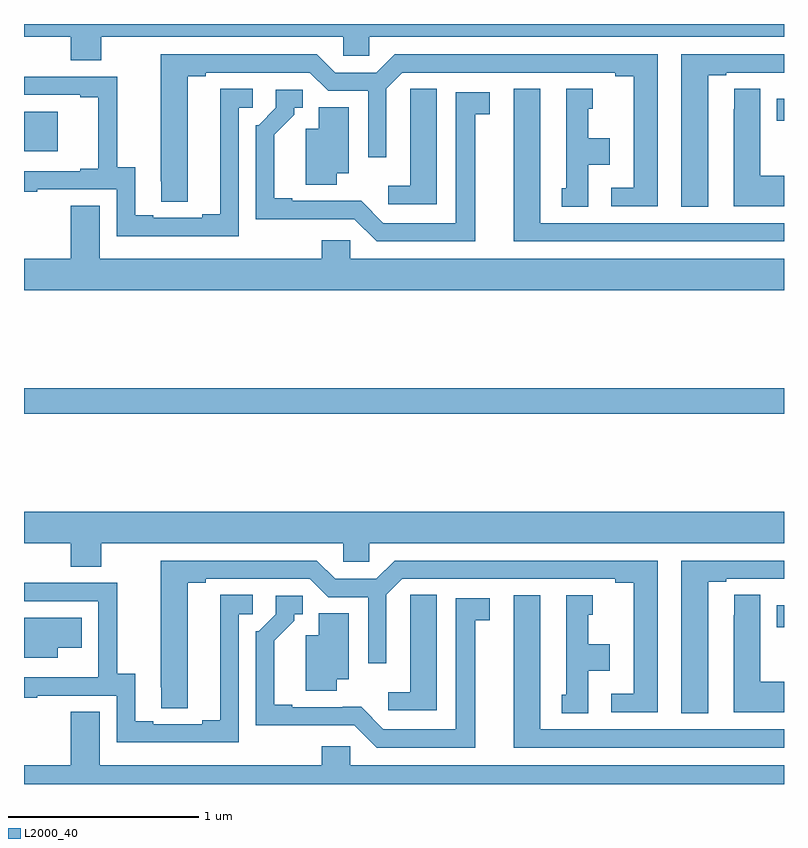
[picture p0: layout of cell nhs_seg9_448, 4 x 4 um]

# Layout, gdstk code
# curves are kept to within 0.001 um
import gdstk
lib = gdstk.Library(unit=1e-6, precision=1e-09)
def R(c, l, rs):  # rectangles x0, y0, x1, y1
    for r in rs: c.add(gdstk.rectangle(r[:2], r[2:], *l))
def P(c, l, *ps):  # polygons
    for p in ps: c.add(gdstk.Polygon(p, *l))
L2000_40 = (2000, 40)

nhs_seg9_448 = lib.new_cell('nhs_seg9_448')
R(nhs_seg9_448, L2000_40, [(136.961,1181.326,137,1181.442), (133,1182.448,137,1182.584), (133,1183.829,133.177,1184.038), (136.961,1183.99,137,1184.106)])
P(nhs_seg9_448, L2000_40, [(133.407,1184.432),(134.679,1184.432),(134.679,1184.334),(134.817,1184.334),(134.817,1184.432),(137,1184.432),(137,1184.5),(133,1184.5),(133,1184.432),(133.247,1184.432),(133.247,1184.308),(133.407,1184.308)],
  [(136.336,1184.34),(134.951,1184.34),(134.855,1184.244),(134.637,1184.244),(134.541,1184.34),(133.721,1184.34),(133.722,1183.564),(133.861,1183.564),(133.861,1184.224),(133.957,1184.224),(133.957,1184.244),(134.505,1184.244),(134.601,1184.148),(134.811,1184.148),(134.811,1183.8),(134.907,1183.8),(134.907,1184.16),(134.991,1184.244),(136.112,1184.244),(136.112,1184.224),(136.208,1184.224),(136.208,1183.638),(136.092,1183.638),(136.092,1183.542),(136.336,1183.542)],
  [(136.6,1184.229),(136.696,1184.229),(136.696,1184.244),(136.972,1184.244),(136.972,1184.243),(137,1184.243),(137,1184.34),(136.46,1184.34),(136.46,1183.537),(136.6,1183.537)],
  [(134.13,1184.058),(134.203,1184.058),(134.203,1184.159),(134.033,1184.159),(134.033,1183.499),(133.937,1183.499),(133.937,1183.479),(133.681,1183.479),(133.681,1183.494),(133.585,1183.494),(133.585,1183.745),(133.491,1183.745),(133.491,1184.223),(133,1184.223),(133,1184.127),(133.295,1184.127),(133.295,1184.115),(133.391,1184.115),(133.391,1183.738),(133.295,1183.738),(133.295,1183.725),(133,1183.725),(133,1183.617),(133.069,1183.617),(133.069,1183.629),(133.488,1183.629),(133.488,1183.383),(134.13,1183.383)],
  [(135.172,1184.159),(135.033,1184.159),(135.033,1184.051),(135.032,1184.051),(135.032,1183.648),(134.916,1183.648),(134.916,1183.551),(135.172,1183.551)],
  [(137,1183.701),(136.876,1183.701),(136.876,1184.159),(136.737,1184.159),(136.737,1184.051),(136.736,1184.051),(136.736,1183.541),(137,1183.541)],
  [(135.97,1183.76),(136.084,1183.76),(136.084,1183.9),(135.97,1183.9),(135.97,1184.055),(135.994,1184.055),(135.994,1184.158),(135.854,1184.158),(135.854,1183.635),(135.83,1183.635),(135.83,1183.537),(135.97,1183.537)],
  [(137,1183.452),(135.718,1183.452),(135.718,1184.158),(135.578,1184.158),(135.578,1183.356),(137,1183.356)],
  [(135.376,1184.026),(135.451,1184.026),(135.451,1184.142),(135.272,1184.142),(135.272,1183.452),(134.892,1183.452),(134.774,1183.57),(134.413,1183.569),(134.413,1183.582),(134.317,1183.582),(134.317,1183.918),(134.422,1184.023),(134.422,1184.058),(134.467,1184.058),(134.467,1184.154),(134.325,1184.154),(134.325,1184.058),(134.235,1183.968),(134.22,1183.968),(134.22,1183.472),(134.739,1183.473),(134.856,1183.356),(135.376,1183.356)],
  [(134.647,1183.715),(134.71,1183.715),(134.71,1184.063),(134.552,1184.063),(134.552,1183.948),(134.483,1183.948),(134.483,1183.654),(134.647,1183.654)],
  [(137,1183.264),(134.718,1183.264),(134.718,1183.362),(134.567,1183.362),(134.567,1183.264),(133.399,1183.264),(133.399,1183.544),(133.247,1183.544),(133.247,1183.264),(133,1183.264),(133,1183.1),(137,1183.1)],
  [(133.407,1181.768),(134.679,1181.768),(134.679,1181.67),(134.817,1181.67),(134.817,1181.768),(137,1181.768),(137,1181.932),(133,1181.932),(133,1181.768),(133.247,1181.768),(133.247,1181.644),(133.407,1181.644)],
  [(136.6,1181.565),(136.696,1181.565),(136.696,1181.58),(136.972,1181.58),(136.972,1181.579),(137,1181.579),(137,1181.676),(136.46,1181.676),(136.46,1180.873),(136.6,1180.873)],
  [(136.336,1181.676),(134.951,1181.676),(134.855,1181.58),(134.637,1181.58),(134.541,1181.676),(133.721,1181.676),(133.722,1180.9),(133.861,1180.9),(133.861,1181.56),(133.957,1181.56),(133.957,1181.58),(134.505,1181.58),(134.601,1181.484),(134.811,1181.484),(134.811,1181.136),(134.907,1181.136),(134.907,1181.496),(134.991,1181.58),(136.112,1181.58),(136.112,1181.56),(136.208,1181.56),(136.208,1180.974),(136.092,1180.974),(136.092,1180.878),(136.336,1180.878)],
  [(134.13,1181.394),(134.203,1181.394),(134.203,1181.495),(134.033,1181.495),(134.033,1180.835),(133.937,1180.835),(133.937,1180.815),(133.681,1180.815),(133.681,1180.83),(133.585,1180.83),(133.585,1181.081),(133.491,1181.081),(133.491,1181.559),(133,1181.559),(133,1181.463),(133.392,1181.463),(133.392,1181.062),(133.391,1181.062),(133.391,1181.061),(133,1181.061),(133,1180.953),(133.069,1180.953),(133.069,1180.965),(133.488,1180.965),(133.488,1180.719),(134.13,1180.719)],
  [(135.172,1181.495),(135.033,1181.495),(135.033,1181.387),(135.032,1181.387),(135.032,1180.984),(134.916,1180.984),(134.916,1180.887),(135.172,1180.887)],
  [(137,1181.037),(136.876,1181.037),(136.876,1181.495),(136.737,1181.495),(136.737,1181.387),(136.736,1181.387),(136.736,1180.877),(137,1180.877)],
  [(137,1180.788),(135.718,1180.788),(135.718,1181.494),(135.578,1181.494),(135.578,1180.692),(137,1180.692)],
  [(135.97,1181.096),(136.084,1181.096),(136.084,1181.236),(135.97,1181.236),(135.97,1181.391),(135.994,1181.391),(135.994,1181.494),(135.854,1181.494),(135.854,1180.971),(135.83,1180.971),(135.83,1180.873),(135.97,1180.873)],
  [(135.376,1181.362),(135.451,1181.362),(135.451,1181.478),(135.272,1181.478),(135.272,1180.788),(134.892,1180.788),(134.774,1180.906),(134.413,1180.905),(134.413,1180.918),(134.317,1180.918),(134.317,1181.254),(134.422,1181.359),(134.422,1181.394),(134.467,1181.394),(134.467,1181.49),(134.325,1181.49),(134.325,1181.394),(134.235,1181.304),(134.22,1181.304),(134.22,1180.808),(134.739,1180.809),(134.856,1180.692),(135.376,1180.692)],
  [(134.647,1181.051),(134.71,1181.051),(134.71,1181.399),(134.552,1181.399),(134.552,1181.284),(134.483,1181.284),(134.483,1180.99),(134.647,1180.99)],
  [(133.177,1181.216),(133.303,1181.216),(133.303,1181.374),(133,1181.374),(133,1181.165),(133.177,1181.165)],
  [(137,1180.6),(134.718,1180.6),(134.718,1180.698),(134.567,1180.698),(134.567,1180.6),(133.399,1180.6),(133.399,1180.88),(133.247,1180.88),(133.247,1180.6),(133,1180.6),(133,1180.5),(137,1180.5)])

lib.write_gds('nhs_seg9_448.gds')
